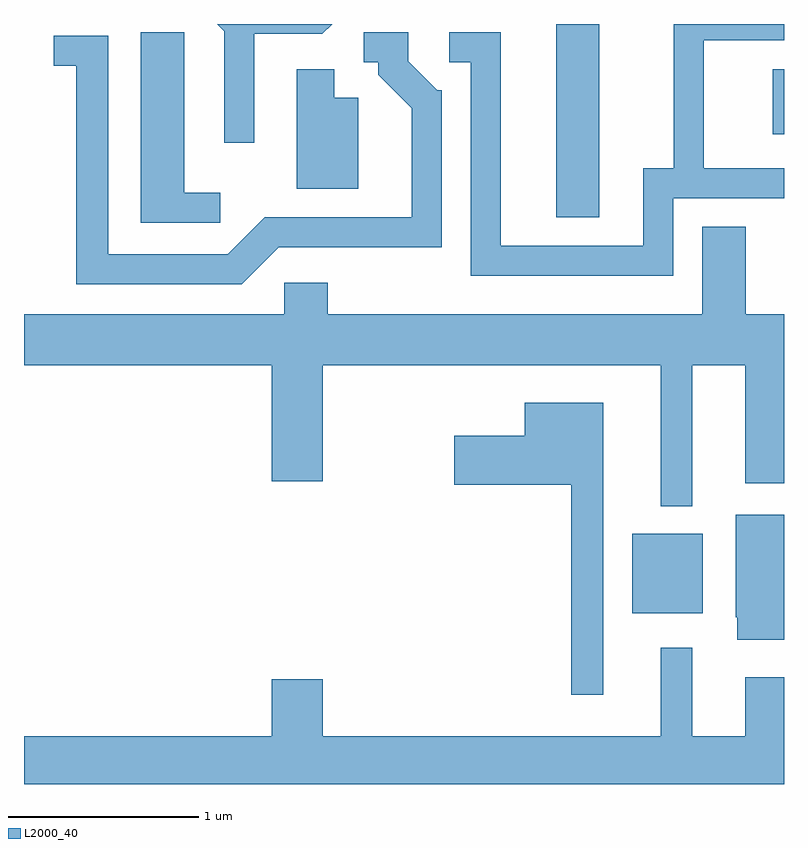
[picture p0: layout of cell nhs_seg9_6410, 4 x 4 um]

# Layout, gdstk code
import gdstk
lib = gdstk.Library(unit=1e-6, precision=1e-09)
def R(c, l, rs):  # rectangles x0, y0, x1, y1
    for r in rs: c.add(gdstk.rectangle(r[:2], r[2:], *l))
def P(c, l, *ps):  # polygons
    for p in ps: c.add(gdstk.Polygon(p, *l))
L2000_40 = (2000, 40)

nhs_seg9_6410 = lib.new_cell('nhs_seg9_6410')
R(nhs_seg9_6410, L2000_40, [(376.811,2059.331,377.184,2059.749), (376.411,2061.416,376.639,2062.432), (377.551,2061.851,377.611,2062.194)])
P(nhs_seg9_6410, L2000_40, [(377.029,2061.516),(377.611,2061.516),(377.611,2061.674),(377.189,2061.674),(377.189,2062.346),(377.611,2062.346),(377.611,2062.432),(377.031,2062.432),(377.031,2061.674),(376.871,2061.674),(376.871,2061.264),(376.119,2061.264),(376.119,2062.389),(375.848,2062.389),(375.848,2062.231),(375.961,2062.231),(375.961,2061.106),(377.029,2061.106)],
  [(374.824,2062.381),(375.182,2062.381),(375.233,2062.432),(374.628,2062.432),(374.666,2062.394),(374.666,2061.808),(374.824,2061.808)],
  [(374.643,2061.544),(374.454,2061.544),(374.454,2062.389),(374.226,2062.389),(374.226,2061.386),(374.643,2061.386)],
  [(374.952,2061.256),(375.809,2061.256),(375.809,2062.084),(375.787,2062.084),(375.634,2062.237),(375.634,2062.389),(375.398,2062.389),(375.398,2062.231),(375.476,2062.231),(375.476,2062.164),(375.651,2061.989),(375.651,2061.414),(374.879,2061.414),(374.684,2061.219),(374.054,2061.219),(374.054,2062.369),(373.768,2062.369),(373.768,2062.211),(373.886,2062.211),(373.886,2061.061),(374.757,2061.061)],
  [(375.369,2062.044),(375.244,2062.044),(375.244,2062.194),(375.046,2062.194),(375.046,2061.566),(375.369,2061.566)],
  [(377.181,2060.904),(375.209,2060.904),(375.209,2061.069),(374.981,2061.069),(374.981,2060.904),(373.611,2060.904),(373.611,2060.636),(374.916,2060.636),(374.916,2060.026),(375.184,2060.026),(375.184,2060.636),(376.961,2060.636),(376.961,2059.893),(377.129,2059.893),(377.129,2060.636),(377.406,2060.636),(377.406,2060.016),(377.611,2060.016),(377.611,2060.904),(377.409,2060.904),(377.409,2061.364),(377.181,2061.364)],
  [(376.659,2060.439),(376.246,2060.439),(376.246,2060.264),(375.876,2060.264),(375.876,2060.006),(376.491,2060.006),(376.491,2058.903),(376.659,2058.903)],
  [(377.611,2059.849),(377.356,2059.849),(377.356,2059.31),(377.366,2059.31),(377.366,2059.191),(377.611,2059.191)],
  [(377.611,2058.994),(377.406,2058.994),(377.406,2058.684),(377.129,2058.684),(377.129,2059.148),(376.961,2059.148),(376.961,2058.684),(375.184,2058.684),(375.184,2058.984),(374.916,2058.984),(374.916,2058.684),(373.611,2058.684),(373.611,2058.432),(377.611,2058.432)])

lib.write_gds('nhs_seg9_6410.gds')
